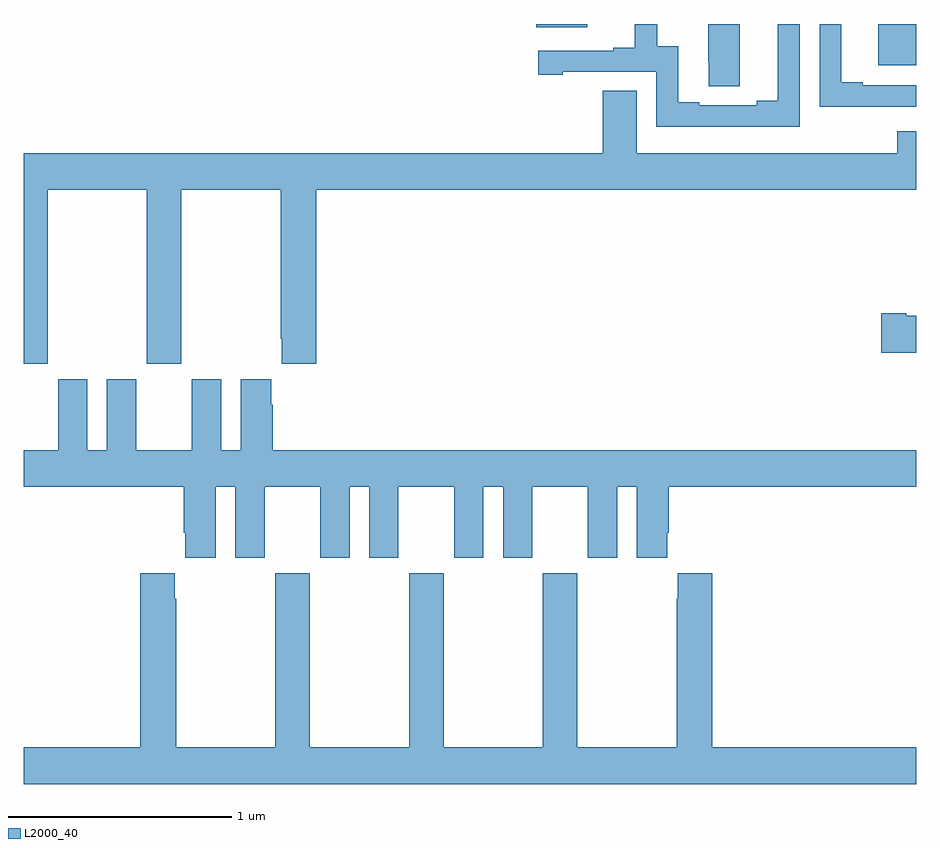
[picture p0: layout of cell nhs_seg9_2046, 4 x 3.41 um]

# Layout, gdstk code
import gdstk
lib = gdstk.Library(unit=1e-6, precision=1e-09)
def R(c, l, rs):  # rectangles x0, y0, x1, y1
    for r in rs: c.add(gdstk.rectangle(r[:2], r[2:], *l))
def P(c, l, *ps):  # polygons
    for p in ps: c.add(gdstk.Polygon(p, *l))
L2000_40 = (2000, 40)

nhs_seg9_2046 = lib.new_cell('nhs_seg9_2046')
R(nhs_seg9_2046, L2000_40, [(230.831,1194.314,231,1194.5), (229.298,1194.485,229.525,1194.5)])
P(nhs_seg9_2046, L2000_40, [(230.209,1194.5),(230.069,1194.5),(230.069,1194.328),(230.07,1194.328),(230.07,1194.22),(230.209,1194.22)],
  [(230.831,1194.129),(231,1194.129),(231,1194.225),(230.761,1194.225),(230.761,1194.238),(230.665,1194.238),(230.665,1194.5),(230.568,1194.5),(230.568,1194.128),(230.831,1194.128)],
  [(230.478,1194.5),(230.381,1194.5),(230.381,1194.155),(230.285,1194.155),(230.285,1194.135),(230.029,1194.135),(230.029,1194.15),(229.933,1194.15),(229.933,1194.401),(229.839,1194.401),(229.839,1194.5),(229.739,1194.5),(229.739,1194.394),(229.643,1194.394),(229.643,1194.381),(229.305,1194.381),(229.305,1194.273),(229.417,1194.273),(229.417,1194.285),(229.836,1194.285),(229.836,1194.039),(230.478,1194.039)],
  [(227.106,1193.756),(227.551,1193.756),(227.551,1192.977),(227.706,1192.977),(227.706,1193.756),(228.151,1193.756),(228.151,1193.089),(228.155,1193.089),(228.155,1192.977),(228.311,1192.977),(228.311,1193.756),(231,1193.756),(231,1194.018),(230.915,1194.018),(230.915,1193.92),(229.747,1193.92),(229.747,1194.2),(229.595,1194.2),(229.595,1193.92),(227,1193.92),(227,1192.977),(227.106,1192.977)],
  [(231,1193.191),(230.956,1193.191),(230.956,1193.204),(230.844,1193.204),(230.844,1193.026),(231,1193.026)],
  [(227.86,1192.424),(227.948,1192.424),(227.948,1192.107),(228.079,1192.107),(228.079,1192.424),(228.329,1192.424),(228.329,1192.107),(228.46,1192.107),(228.46,1192.424),(228.548,1192.424),(228.548,1192.107),(228.679,1192.107),(228.679,1192.424),(228.929,1192.424),(228.929,1192.107),(229.06,1192.107),(229.06,1192.424),(229.148,1192.424),(229.148,1192.107),(229.279,1192.107),(229.279,1192.424),(229.529,1192.424),(229.529,1192.107),(229.66,1192.107),(229.66,1192.424),(229.748,1192.424),(229.748,1192.107),(229.885,1192.107),(229.885,1192.219),(229.892,1192.219),(229.892,1192.424),(231,1192.424),(231,1192.588),(228.116,1192.588),(228.116,1192.793),(228.109,1192.793),(228.109,1192.906),(227.972,1192.906),(227.972,1192.588),(227.884,1192.588),(227.884,1192.906),(227.753,1192.906),(227.753,1192.588),(227.503,1192.588),(227.503,1192.906),(227.372,1192.906),(227.372,1192.588),(227.284,1192.588),(227.284,1192.906),(227.153,1192.906),(227.153,1192.588),(227,1192.588),(227,1192.424),(227.717,1192.424),(227.717,1192.219),(227.723,1192.219),(227.723,1192.107),(227.86,1192.107)],
  [(231,1191.256),(230.087,1191.256),(230.087,1192.036),(229.931,1192.036),(229.931,1191.923),(229.927,1191.923),(229.927,1191.256),(229.482,1191.256),(229.482,1192.036),(229.327,1192.036),(229.327,1191.256),(228.882,1191.256),(228.882,1192.036),(228.727,1192.036),(228.727,1191.256),(228.282,1191.256),(228.282,1192.036),(228.127,1192.036),(228.127,1191.256),(227.682,1191.256),(227.682,1191.923),(227.677,1191.923),(227.677,1192.036),(227.522,1192.036),(227.522,1191.256),(227,1191.256),(227,1191.092),(231,1191.092)])

lib.write_gds('nhs_seg9_2046.gds')
